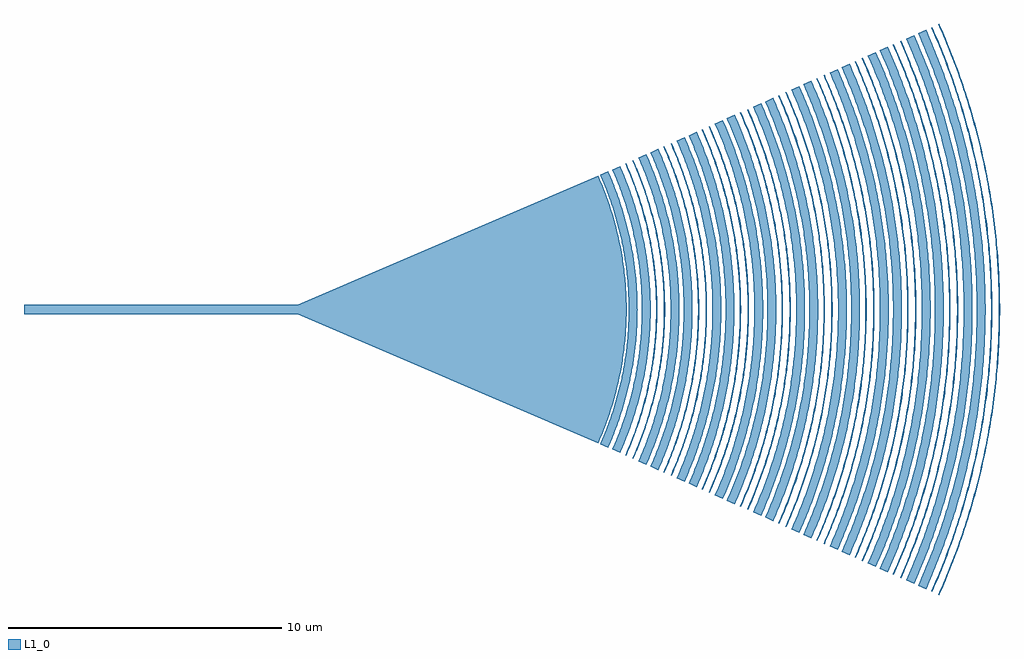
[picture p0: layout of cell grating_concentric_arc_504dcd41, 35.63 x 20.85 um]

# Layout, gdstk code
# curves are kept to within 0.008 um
import gdstk
lib = gdstk.Library(unit=1e-6, precision=2e-09)
def R(c, l, rs):  # rectangles x0, y0, x1, y1
    for r in rs: c.add(gdstk.rectangle(r[:2], r[2:], *l))
def P(c, l, *ps):  # polygons
    for p in ps: c.add(gdstk.Polygon(p, *l))
L1_0 = (1, 0)

straight_3aa2beef = lib.new_cell('straight_3aa2beef')
R(straight_3aa2beef, L1_0, [(0,-0.174,10,0.174)])

ring_18af332f_transform_ = lib.new_cell('ring_18af332f_transform_e815f10f')
P(ring_18af332f_transform_, L1_0, [(11.036,-4.914),(11.278,-4.328),(11.422,-3.932),(11.612,-3.33),(11.77,-2.718),(11.884,-2.166),(11.972,-1.612),(12.028,-1.122),(12.07,-0.492),(12.078,0.21),(12.046,0.912),(11.972,1.612),(11.858,2.304),(11.704,2.99),(11.532,3.598),(11.352,4.132),(11.036,4.914),(11.328,5.044),(11.602,4.376),(11.858,3.626),(12.014,3.07),(12.172,2.366),(12.298,1.582),(12.364,0.936),(12.398,0.216),(12.392,-0.432),(12.332,-1.296),(12.224,-2.082),(12.082,-2.79),(11.858,-3.626),(11.602,-4.376),(11.328,-5.044)])

ring_9ef71bd5_transform_ = lib.new_cell('ring_9ef71bd5_transform_de18588c')
P(ring_9ef71bd5_transform_, L1_0, [(11.472,-5.108),(11.672,-4.636),(11.922,-3.95),(12.092,-3.392),(12.236,-2.826),(12.368,-2.18),(12.456,-1.602),(12.528,-0.876),(12.554,-0.366),(12.554,0.366),(12.498,1.24),(12.416,1.892),(12.3,2.54),(12.15,3.18),(11.922,3.95),(11.672,4.636),(11.472,5.108),(11.764,5.238),(12.05,4.546),(12.294,3.836),(12.478,3.188),(12.642,2.458),(12.782,1.57),(12.842,0.974),(12.878,0.15),(12.868,-0.524),(12.816,-1.272),(12.696,-2.162),(12.514,-3.042),(12.316,-3.766),(12.05,-4.546),(11.764,-5.238)])

ring_62116101_transform_ = lib.new_cell('ring_62116101_transform_87c8f04f')
P(ring_62116101_transform_, L1_0, [(11.95,-5.32),(12.212,-4.688),(12.318,-4.402),(12.464,-3.97),(12.634,-3.386),(12.762,-2.868),(12.882,-2.272),(12.964,-1.746),(12.992,-1.518),(13.024,-1.216),(13.054,-0.836),(13.07,-0.532),(13.08,-0.152),(13.08,0.152),(13.07,0.532),(13.054,0.836),(13.024,1.216),(12.964,1.746),(12.92,2.046),(12.826,2.57),(12.728,3.016),(12.654,3.312),(12.574,3.606),(12.464,3.97),(12.318,4.402),(12.212,4.688),(11.95,5.32),(11.986,5.336),(12.108,5.056),(12.25,4.702),(12.356,4.416),(12.502,3.982),(12.592,3.69),(12.694,3.322),(12.802,2.878),(12.85,2.654),(12.96,2.052),(13.014,1.674),(13.064,1.22),(13.084,0.992),(13.11,0.534),(13.118,0.306),(13.12,-0.152),(13.116,-0.382),(13.094,-0.84),(13.078,-1.068),(13.032,-1.524),(12.982,-1.902),(12.922,-2.278),(12.802,-2.878),(12.694,-3.322),(12.592,-3.69),(12.502,-3.982),(12.356,-4.416),(12.166,-4.916),(12.018,-5.266),(11.986,-5.336)])

ring_b915d18b_transform_ = lib.new_cell('ring_b915d18b_transform_c44b0128')
P(ring_b915d18b_transform_, L1_0, [(12.21,-5.436),(12.334,-5.15),(12.506,-4.718),(12.688,-4.204),(12.87,-3.61),(12.988,-3.158),(13.058,-2.854),(13.12,-2.55),(13.202,-2.09),(13.276,-1.552),(13.334,-0.932),(13.358,-0.466),(13.366,-0.078),(13.364,0.234),(13.352,0.622),(13.308,1.242),(13.276,1.552),(13.202,2.09),(13.09,2.702),(13.024,3.006),(12.95,3.308),(12.87,3.61),(12.782,3.908),(12.638,4.352),(12.506,4.718),(12.334,5.15),(12.21,5.436),(12.248,5.452),(12.488,4.878),(12.598,4.586),(12.726,4.216),(12.866,3.77),(12.95,3.47),(13.114,2.788),(13.216,2.252),(13.254,2.02),(13.316,1.556),(13.356,1.168),(13.384,0.78),(13.398,0.468),(13.406,-0.156),(13.392,-0.624),(13.374,-0.936),(13.316,-1.556),(13.254,-2.02),(13.216,-2.252),(13.13,-2.71),(13.08,-2.94),(12.97,-3.394),(12.866,-3.77),(12.676,-4.364),(12.488,-4.878),(12.31,-5.31),(12.248,-5.452)])

ring_b7945bce_transform_ = lib.new_cell('ring_b7945bce_transform_cf021379')
P(ring_b7945bce_transform_, L1_0, [(12.432,-5.534),(12.676,-4.95),(12.918,-4.28),(13.082,-3.75),(13.26,-3.062),(13.374,-2.518),(13.476,-1.894),(13.564,-1.108),(13.6,-0.474),(13.608,0.158),(13.576,0.95),(13.526,1.502),(13.476,1.894),(13.374,2.518),(13.242,3.138),(13.014,3.978),(12.788,4.654),(12.618,5.098),(12.432,5.534),(12.724,5.664),(13.032,4.916),(13.296,4.15),(13.534,3.29),(13.688,2.578),(13.804,1.858),(13.882,1.134),(13.926,0.244),(13.92,-0.486),(13.86,-1.376),(13.744,-2.258),(13.57,-3.134),(13.366,-3.916),(13.116,-4.688),(12.914,-5.218),(12.724,-5.664)])

ring_1697d63b_transform_ = lib.new_cell('ring_1697d63b_transform_a5b82519')
P(ring_1697d63b_transform_, L1_0, [(12.87,-5.73),(13.152,-5.048),(13.372,-4.432),(13.542,-3.882),(13.708,-3.248),(13.844,-2.608),(13.962,-1.88),(14.034,-1.228),(14.082,-0.41),(14.082,0.41),(14.034,1.228),(13.962,1.88),(13.844,2.608),(13.708,3.248),(13.608,3.646),(13.448,4.196),(13.152,5.048),(12.87,5.73),(13.162,5.86),(13.48,5.084),(13.728,4.372),(13.938,3.648),(14.126,2.832),(14.278,1.922),(14.366,1.088),(14.406,0.168),(14.398,-0.502),(14.344,-1.34),(14.23,-2.254),(14.056,-3.16),(13.826,-4.052),(13.538,-4.928),(13.358,-5.396),(13.162,-5.86)])

ring_c85b5a61_transform_ = lib.new_cell('ring_c85b5a61_transform_00e0e5d4')
P(ring_c85b5a61_transform_, L1_0, [(13.346,-5.942),(13.608,-5.314),(13.728,-4.996),(13.868,-4.596),(14.066,-3.944),(14.196,-3.452),(14.254,-3.204),(14.402,-2.454),(14.49,-1.864),(14.52,-1.612),(14.574,-1.02),(14.6,-0.51),(14.608,-0.17),(14.6,0.51),(14.574,1.02),(14.554,1.274),(14.49,1.864),(14.442,2.202),(14.402,2.454),(14.324,2.87),(14.196,3.452),(14.066,3.944),(13.946,4.352),(13.868,4.596),(13.638,5.236),(13.448,5.708),(13.346,5.942),(13.382,5.958),(13.518,5.646),(13.646,5.33),(13.824,4.85),(13.906,4.608),(14.01,4.284),(14.128,3.874),(14.194,3.626),(14.33,3.046),(14.456,2.376),(14.53,1.87),(14.578,1.446),(14.63,0.766),(14.644,0.426),(14.65,0),(14.644,-0.426),(14.63,-0.766),(14.608,-1.106),(14.56,-1.616),(14.53,-1.87),(14.456,-2.376),(14.38,-2.796),(14.312,-3.13),(14.194,-3.626),(14.128,-3.874),(14.01,-4.284),(13.852,-4.77),(13.646,-5.33),(13.452,-5.802),(13.382,-5.958)])

ring_a4c3d1c4_transform_ = lib.new_cell('ring_a4c3d1c4_transform_65c90a22')
P(ring_a4c3d1c4_transform_, L1_0, [(13.606,-6.058),(13.744,-5.74),(13.874,-5.418),(14.026,-5.012),(14.166,-4.602),(14.318,-4.106),(14.452,-3.604),(14.532,-3.266),(14.668,-2.586),(14.75,-2.072),(14.784,-1.816),(14.838,-1.298),(14.864,-0.952),(14.886,-0.52),(14.894,-0.174),(14.886,0.52),(14.864,0.952),(14.822,1.47),(14.75,2.072),(14.668,2.586),(14.604,2.926),(14.532,3.266),(14.452,3.604),(14.318,4.106),(14.244,4.354),(14.11,4.768),(13.966,5.176),(13.81,5.58),(13.606,6.058),(13.644,6.074),(13.782,5.756),(13.912,5.434),(14.064,5.026),(14.204,4.616),(14.308,4.284),(14.404,3.95),(14.492,3.614),(14.644,2.934),(14.708,2.594),(14.79,2.078),(14.862,1.474),(14.91,0.868),(14.926,0.522),(14.934,-0.174),(14.91,-0.868),(14.886,-1.216),(14.824,-1.82),(14.79,-2.078),(14.708,-2.594),(14.572,-3.274),(14.492,-3.614),(14.404,-3.95),(14.308,-4.284),(14.122,-4.862),(13.912,-5.434),(13.714,-5.916),(13.644,-6.074)])

ring_f097ac08_transform_ = lib.new_cell('ring_f097ac08_transform_99536613')
P(ring_f097ac08_transform_, L1_0, [(13.828,-6.156),(14.132,-5.424),(14.396,-4.678),(14.622,-3.918),(14.788,-3.234),(14.892,-2.716),(15.002,-2.02),(15.08,-1.32),(15.128,-0.528),(15.136,0.176),(15.094,1.144),(15.002,2.02),(14.876,2.802),(14.688,3.662),(14.45,4.51),(14.194,5.26),(14.002,5.752),(13.828,6.156),(14.12,6.286),(14.43,5.54),(14.728,4.69),(14.998,3.74),(15.19,2.86),(15.306,2.152),(15.406,1.258),(15.45,0.45),(15.45,-0.45),(15.406,-1.258),(15.294,-2.24),(15.19,-2.86),(15.1,-3.302),(14.998,-3.74),(14.858,-4.26),(14.672,-4.862),(14.494,-5.37),(14.12,-6.286)])

ring_97541202_transform_ = lib.new_cell('ring_97541202_transform_76e0aaa6')
P(ring_97541202_transform_, L1_0, [(14.266,-6.352),(14.546,-5.68),(14.824,-4.912),(15.036,-4.216),(15.216,-3.512),(15.394,-2.622),(15.5,-1.904),(15.578,-1.09),(15.61,-0.454),(15.61,0.454),(15.564,1.27),(15.464,2.174),(15.312,3.068),(15.13,3.866),(14.88,4.74),(14.61,5.512),(14.266,6.352),(14.558,6.482),(14.91,5.624),(15.212,4.748),(15.462,3.856),(15.66,2.95),(15.78,2.218),(15.858,1.574),(15.89,1.204),(15.918,0.742),(15.934,0.186),(15.926,-0.556),(15.858,-1.574),(15.754,-2.402),(15.568,-3.404),(15.344,-4.304),(15.156,-4.924),(15.006,-5.362),(14.81,-5.884),(14.558,-6.482)])

ring_4b532dd6_transform_ = lib.new_cell('ring_4b532dd6_transform_9932546e')
P(ring_4b532dd6_transform_, L1_0, [(14.742,-6.564),(14.854,-6.306),(15.066,-5.784),(15.228,-5.342),(15.348,-4.986),(15.46,-4.628),(15.612,-4.086),(15.724,-3.63),(15.804,-3.264),(15.924,-2.618),(15.98,-2.246),(16.028,-1.874),(16.068,-1.5),(16.116,-0.844),(16.128,-0.564),(16.138,0),(16.128,0.564),(16.116,0.844),(16.068,1.5),(16.028,1.874),(15.98,2.246),(15.924,2.618),(15.804,3.264),(15.658,3.904),(15.588,4.176),(15.46,4.628),(15.318,5.076),(15.132,5.608),(14.998,5.958),(14.742,6.564),(14.78,6.58),(14.892,6.322),(15.104,5.798),(15.266,5.356),(15.444,4.82),(15.552,4.46),(15.698,3.914),(15.844,3.272),(15.916,2.902),(15.994,2.438),(16.09,1.692),(16.132,1.222),(16.156,0.846),(16.174,0.376),(16.178,-0.094),(16.174,-0.376),(16.156,-0.846),(16.132,-1.222),(16.08,-1.784),(16.034,-2.158),(15.964,-2.624),(15.844,-3.272),(15.764,-3.64),(15.698,-3.914),(15.552,-4.46),(15.444,-4.82),(15.266,-5.356),(15.07,-5.886),(14.818,-6.494),(14.78,-6.58)])

ring_369c5e2a_transform_ = lib.new_cell('ring_369c5e2a_transform_a3ad6ce9')
P(ring_369c5e2a_transform_, L1_0, [(15.002,-6.68),(15.118,-6.416),(15.298,-5.974),(15.4,-5.706),(15.59,-5.166),(15.706,-4.802),(15.864,-4.25),(16.024,-3.602),(16.102,-3.228),(16.206,-2.664),(16.25,-2.38),(16.312,-1.906),(16.352,-1.526),(16.39,-1.05),(16.41,-0.668),(16.422,-0.192),(16.422,0.192),(16.41,0.668),(16.39,1.05),(16.352,1.526),(16.312,1.906),(16.236,2.474),(16.174,2.852),(16.084,3.32),(16.024,3.602),(15.912,4.066),(15.706,4.802),(15.59,5.166),(15.4,5.706),(15.262,6.064),(15.118,6.416),(15.002,6.68),(15.04,6.696),(15.192,6.344),(15.336,5.99),(15.438,5.72),(15.658,5.088),(15.772,4.722),(15.878,4.354),(15.998,3.89),(16.124,3.33),(16.214,2.858),(16.276,2.48),(16.374,1.72),(16.436,0.958),(16.454,0.574),(16.464,0),(16.454,-0.574),(16.436,-0.958),(16.374,-1.72),(16.304,-2.292),(16.246,-2.67),(16.196,-2.954),(16.084,-3.516),(15.998,-3.89),(15.878,-4.354),(15.744,-4.814),(15.598,-5.27),(15.336,-5.99),(15.192,-6.344),(15.04,-6.696)])

ring_09ff72a5_transform_ = lib.new_cell('ring_09ff72a5_transform_56d70600')
P(ring_09ff72a5_transform_, L1_0, [(15.224,-6.778),(15.524,-6.062),(15.82,-5.242),(16.098,-4.314),(16.26,-3.654),(16.396,-2.99),(16.53,-2.128),(16.618,-1.26),(16.656,-0.582),(16.666,-0.096),(16.656,0.582),(16.618,1.26),(16.53,2.128),(16.36,3.18),(16.26,3.654),(16.098,4.314),(15.88,5.058),(15.726,5.518),(15.524,6.062),(15.224,6.778),(15.516,6.908),(15.892,5.994),(16.214,5.06),(16.432,4.3),(16.654,3.338),(16.806,2.462),(16.912,1.578),(16.956,0.988),(16.978,0.494),(16.978,-0.494),(16.956,-0.988),(16.912,-1.578),(16.806,-2.462),(16.71,-3.046),(16.614,-3.532),(16.504,-4.014),(16.354,-4.586),(16.214,-5.06),(16.028,-5.624),(15.822,-6.178),(15.516,-6.908)])

ring_4aba89fb_transform_ = lib.new_cell('ring_4aba89fb_transform_c85839d6')
P(ring_4aba89fb_transform_, L1_0, [(15.662,-6.974),(16.006,-6.144),(16.306,-5.298),(16.508,-4.63),(16.726,-3.76),(16.884,-2.978),(17.004,-2.188),(17.096,-1.296),(17.14,-0.398),(17.14,0.398),(17.088,1.394),(16.978,2.386),(16.83,3.272),(16.586,4.34),(16.366,5.108),(16.178,5.676),(16.006,6.144),(15.662,6.974),(15.954,7.104),(16.268,6.354),(16.64,5.3),(16.788,4.814),(16.92,4.324),(17.124,3.432),(17.28,2.532),(17.398,1.522),(17.454,0.61),(17.462,-0.304),(17.44,-0.914),(17.398,-1.522),(17.28,-2.532),(17.124,-3.432),(16.97,-4.126),(16.842,-4.618),(16.64,-5.3),(16.444,-5.878),(16.268,-6.354),(15.954,-7.104)])

ring_5a9b4f54_transform_ = lib.new_cell('ring_5a9b4f54_transform_206420ec')
P(ring_5a9b4f54_transform_, L1_0, [(16.138,-7.186),(16.302,-6.808),(16.456,-6.426),(16.636,-5.946),(16.802,-5.46),(16.982,-4.87),(17.064,-4.572),(17.142,-4.274),(17.258,-3.774),(17.342,-3.37),(17.432,-2.866),(17.522,-2.254),(17.57,-1.846),(17.608,-1.438),(17.642,-0.924),(17.662,-0.412),(17.666,-0.102),(17.664,0.308),(17.652,0.72),(17.63,1.13),(17.59,1.642),(17.522,2.254),(17.48,2.56),(17.398,3.068),(17.322,3.472),(17.214,3.974),(17.142,4.274),(16.982,4.87),(16.864,5.264),(16.636,5.946),(16.456,6.426),(16.302,6.808),(16.138,7.186),(16.176,7.202),(16.494,6.442),(16.674,5.96),(16.872,5.374),(16.992,4.98),(17.156,4.384),(17.23,4.084),(17.362,3.48),(17.438,3.074),(17.52,2.566),(17.562,2.26),(17.63,1.646),(17.664,1.236),(17.688,0.824),(17.706,0.206),(17.706,-0.206),(17.688,-0.824),(17.664,-1.236),(17.598,-1.954),(17.562,-2.26),(17.472,-2.872),(17.382,-3.378),(17.276,-3.882),(17.156,-4.384),(16.992,-4.98),(16.872,-5.374),(16.742,-5.764),(16.494,-6.442),(16.258,-7.014),(16.176,-7.202)])

ring_7d5eeade_transform_ = lib.new_cell('ring_7d5eeade_transform_6bc9a117')
P(ring_7d5eeade_transform_, L1_0, [(16.4,-7.302),(16.604,-6.822),(16.796,-6.336),(16.974,-5.844),(17.136,-5.348),(17.284,-4.848),(17.444,-4.242),(17.602,-3.528),(17.714,-2.912),(17.762,-2.602),(17.818,-2.188),(17.864,-1.772),(17.908,-1.252),(17.932,-0.836),(17.944,-0.522),(17.952,0),(17.944,0.522),(17.932,0.836),(17.908,1.252),(17.864,1.772),(17.818,2.188),(17.762,2.602),(17.714,2.912),(17.602,3.528),(17.444,4.242),(17.34,4.646),(17.198,5.148),(16.974,5.844),(16.796,6.336),(16.604,6.822),(16.4,7.302),(16.436,7.318),(16.562,7.03),(16.76,6.546),(16.978,5.956),(17.112,5.56),(17.266,5.06),(17.406,4.556),(17.554,3.946),(17.62,3.638),(17.754,2.918),(17.802,2.608),(17.894,1.88),(17.924,1.568),(17.968,0.942),(17.99,0.314),(17.992,-0.104),(17.968,-0.942),(17.924,-1.568),(17.894,-1.88),(17.802,-2.608),(17.754,-2.918),(17.662,-3.432),(17.554,-3.946),(17.458,-4.352),(17.324,-4.858),(17.144,-5.46),(17.012,-5.858),(16.76,-6.546),(16.562,-7.03),(16.436,-7.318)])

ring_27e1a8e9_transform_ = lib.new_cell('ring_27e1a8e9_transform_fa4fcae1')
P(ring_27e1a8e9_transform_, L1_0, [(16.62,-7.4),(16.83,-6.914),(17.024,-6.422),(17.304,-5.622),(17.518,-4.914),(17.752,-3.99),(17.918,-3.16),(18.046,-2.322),(18.15,-1.27),(18.19,-0.424),(18.19,0.424),(18.164,1.058),(18.116,1.692),(18.002,2.636),(17.84,3.576),(17.602,4.606),(17.336,5.522),(17.024,6.422),(16.83,6.914),(16.62,7.4),(16.912,7.53),(17.284,6.634),(17.608,5.72),(17.736,5.31),(17.938,4.584),(18.174,3.532),(18.334,2.576),(18.452,1.506),(18.506,0.538),(18.506,-0.538),(18.476,-1.184),(18.434,-1.72),(18.376,-2.256),(18.286,-2.896),(18.174,-3.532),(18.086,-3.954),(17.938,-4.584),(17.826,-5),(17.608,-5.72),(17.434,-6.23),(17.166,-6.936),(16.912,-7.53)])

ring_bc41de4a_transform_ = lib.new_cell('ring_bc41de4a_transform_f2fcce6a')
P(ring_bc41de4a_transform_, L1_0, [(17.058,-7.594),(17.394,-6.794),(17.724,-5.874),(17.98,-5.042),(18.242,-3.988),(18.39,-3.242),(18.534,-2.276),(18.628,-1.302),(18.668,-0.434),(18.668,0.434),(18.628,1.302),(18.534,2.276),(18.426,3.028),(18.33,3.562),(18.17,4.306),(17.92,5.252),(17.656,6.08),(17.51,6.488),(17.314,6.994),(17.058,7.594),(17.35,7.724),(17.526,7.32),(17.77,6.702),(17.958,6.184),(18.13,5.658),(18.402,4.702),(18.644,3.624),(18.808,2.644),(18.93,1.546),(18.988,0.442),(18.988,-0.442),(18.93,-1.546),(18.808,-2.644),(18.644,-3.624),(18.506,-4.272),(18.346,-4.916),(18.13,-5.658),(17.922,-6.288),(17.61,-7.114),(17.35,-7.724)])

ring_ef6cbba5_transform_ = lib.new_cell('ring_ef6cbba5_transform_8d22682c')
P(ring_ef6cbba5_transform_, L1_0, [(17.534,-7.808),(17.712,-7.396),(17.96,-6.774),(18.112,-6.354),(18.29,-5.826),(18.512,-5.076),(18.624,-4.644),(18.752,-4.1),(18.842,-3.662),(18.922,-3.224),(19.008,-2.672),(19.078,-2.118),(19.122,-1.672),(19.156,-1.228),(19.174,-0.894),(19.194,-0.224),(19.194,0.224),(19.174,0.894),(19.156,1.228),(19.112,1.784),(19.052,2.34),(18.976,2.892),(18.884,3.442),(18.798,3.882),(18.65,4.536),(18.512,5.076),(18.29,5.826),(18.112,6.354),(17.96,6.774),(17.712,7.396),(17.534,7.808),(17.572,7.824),(17.75,7.412),(17.958,6.894),(18.15,6.368),(18.294,5.944),(18.49,5.302),(18.58,4.978),(18.716,4.436),(18.838,3.89),(18.962,3.23),(19.016,2.898),(19.092,2.344),(19.152,1.788),(19.196,1.23),(19.224,0.672),(19.234,0.224),(19.234,-0.224),(19.224,-0.672),(19.196,-1.23),(19.152,-1.788),(19.092,-2.344),(19.016,-2.898),(18.962,-3.23),(18.838,-3.89),(18.742,-4.326),(18.664,-4.654),(18.49,-5.302),(18.362,-5.73),(18.224,-6.156),(17.958,-6.894),(17.75,-7.412),(17.572,-7.824)])

ring_073d23e4_transform_ = lib.new_cell('ring_073d23e4_transform_7c288cbc')
P(ring_073d23e4_transform_, L1_0, [(17.796,-7.924),(18.062,-7.298),(18.226,-6.876),(18.382,-6.45),(18.562,-5.912),(18.726,-5.37),(18.846,-4.932),(19.006,-4.272),(19.078,-3.94),(19.144,-3.606),(19.258,-2.936),(19.306,-2.598),(19.374,-2.036),(19.416,-1.584),(19.454,-1.02),(19.472,-0.566),(19.48,-0.114),(19.472,0.566),(19.454,1.02),(19.416,1.584),(19.374,2.036),(19.306,2.598),(19.258,2.936),(19.144,3.606),(19.078,3.94),(19.006,4.272),(18.846,4.932),(18.726,5.37),(18.596,5.804),(18.382,6.45),(18.226,6.876),(18.062,7.298),(17.796,7.924),(17.832,7.94),(18.056,7.418),(18.224,6.996),(18.42,6.462),(18.6,5.924),(18.668,5.708),(18.856,5.052),(18.968,4.612),(19.118,3.948),(19.184,3.614),(19.298,2.942),(19.402,2.154),(19.436,1.814),(19.488,1.136),(19.5,0.908),(19.52,0.228),(19.52,-0.228),(19.488,-1.136),(19.456,-1.588),(19.402,-2.154),(19.346,-2.604),(19.244,-3.278),(19.184,-3.614),(19.046,-4.28),(18.968,-4.612),(18.796,-5.272),(18.668,-5.708),(18.494,-6.248),(18.264,-6.89),(18.056,-7.418),(17.832,-7.94)])

ring_71f63d6c_transform_ = lib.new_cell('ring_71f63d6c_transform_96611c65')
P(ring_71f63d6c_transform_, L1_0, [(18.018,-8.022),(18.33,-7.282),(18.686,-6.312),(18.99,-5.326),(19.218,-4.436),(19.382,-3.65),(19.48,-3.086),(19.562,-2.518),(19.658,-1.604),(19.702,-0.918),(19.718,-0.458),(19.718,0.458),(19.682,1.262),(19.59,2.29),(19.462,3.198),(19.316,3.988),(19.218,4.436),(19.08,4.994),(18.894,5.656),(18.722,6.204),(18.534,6.746),(18.33,7.282),(18.018,8.022),(18.31,8.152),(18.752,7.074),(19.062,6.194),(19.36,5.188),(19.502,4.622),(19.652,3.938),(19.814,3.02),(19.92,2.21),(19.976,1.63),(20.034,0.582),(20.034,-0.582),(19.994,-1.398),(19.956,-1.862),(19.814,-3.02),(19.652,-3.938),(19.502,-4.622),(19.36,-5.188),(19.132,-5.972),(18.912,-6.636),(18.626,-7.4),(18.31,-8.152)])

ring_ab069dd8_transform_ = lib.new_cell('ring_ab069dd8_transform_02f1b799')
P(ring_ab069dd8_transform_, L1_0, [(18.454,-8.216),(18.818,-7.35),(19.176,-6.354),(19.482,-5.342),(19.71,-4.43),(19.874,-3.624),(20.036,-2.578),(20.144,-1.526),(20.196,-0.47),(20.202,0),(20.19,0.706),(20.144,1.526),(20.064,2.346),(19.934,3.276),(19.808,3.97),(19.71,4.43),(19.544,5.114),(19.386,5.682),(19.176,6.354),(18.984,6.91),(18.73,7.568),(18.454,8.216),(18.746,8.346),(19.158,7.354),(19.364,6.794),(19.554,6.228),(19.726,5.656),(19.912,4.964),(20.144,3.916),(20.322,2.856),(20.432,1.908),(20.504,0.836),(20.52,0.238),(20.516,-0.478),(20.462,-1.55),(20.396,-2.264),(20.322,-2.856),(20.144,-3.916),(20.022,-4.5),(19.822,-5.312),(19.554,-6.228),(19.364,-6.794),(19.026,-7.688),(18.746,-8.346)])

ring_57bc1377_transform_ = lib.new_cell('ring_57bc1377_transform_ff4c813a')
P(ring_57bc1377_transform_, L1_0, [(18.932,-8.428),(19.076,-8.098),(19.39,-7.314),(19.672,-6.518),(19.818,-6.058),(19.986,-5.48),(20.108,-5.014),(20.27,-4.308),(20.386,-3.718),(20.468,-3.242),(20.554,-2.646),(20.61,-2.166),(20.664,-1.566),(20.688,-1.204),(20.706,-0.844),(20.722,-0.242),(20.722,0.242),(20.706,0.844),(20.68,1.326),(20.634,1.926),(20.554,2.646),(20.522,2.884),(20.428,3.48),(20.342,3.954),(20.192,4.662),(20.108,5.014),(19.954,5.596),(19.818,6.058),(19.672,6.518),(19.39,7.314),(19.076,8.098),(18.932,8.428),(18.968,8.446),(19.16,8.002),(19.428,7.328),(19.512,7.102),(19.748,6.416),(19.892,5.956),(20.056,5.374),(20.176,4.906),(20.31,4.316),(20.404,3.844),(20.508,3.248),(20.594,2.65),(20.65,2.17),(20.704,1.568),(20.736,1.086),(20.758,0.484),(20.764,-0.12),(20.758,-0.484),(20.736,-1.086),(20.674,-1.93),(20.624,-2.41),(20.562,-2.89),(20.488,-3.368),(20.382,-3.962),(20.284,-4.436),(20.118,-5.14),(19.96,-5.724),(19.784,-6.302),(19.672,-6.646),(19.428,-7.328),(19.16,-8.002),(18.968,-8.446)])

ring_5b199af7_transform_ = lib.new_cell('ring_5b199af7_transform_31e397a7')
P(ring_5b199af7_transform_, L1_0, [(19.192,-8.544),(19.386,-8.096),(19.614,-7.528),(19.824,-6.956),(20.018,-6.376),(20.126,-6.026),(20.324,-5.32),(20.414,-4.964),(20.55,-4.368),(20.646,-3.888),(20.75,-3.286),(20.836,-2.682),(20.894,-2.196),(20.958,-1.466),(20.98,-1.1),(21,-0.612),(21.008,-0.122),(21.006,0.366),(20.986,0.978),(20.958,1.466),(20.894,2.196),(20.836,2.682),(20.75,3.286),(20.646,3.888),(20.55,4.368),(20.414,4.964),(20.324,5.32),(20.228,5.674),(20.018,6.376),(19.824,6.956),(19.614,7.528),(19.386,8.096),(19.192,8.544),(19.23,8.562),(19.516,7.886),(19.738,7.314),(19.942,6.736),(20.094,6.272),(20.234,5.802),(20.364,5.33),(20.51,4.734),(20.614,4.256),(20.73,3.656),(20.808,3.172),(20.892,2.566),(20.958,1.956),(20.998,1.468),(21.032,0.856),(21.048,0.244),(21.048,-0.244),(21.032,-0.856),(21.014,-1.224),(20.98,-1.712),(20.934,-2.2),(20.892,-2.566),(20.79,-3.292),(20.686,-3.896),(20.564,-4.496),(20.424,-5.092),(20.3,-5.566),(20.094,-6.272),(19.942,-6.736),(19.738,-7.314),(19.424,-8.112),(19.23,-8.562)])

ring_b386191c_transform_ = lib.new_cell('ring_b386191c_transform_2c3aeca4')
P(ring_b386191c_transform_, L1_0, [(19.414,-8.644),(19.84,-7.616),(20.134,-6.802),(20.462,-5.738),(20.734,-4.66),(20.95,-3.568),(21.108,-2.468),(21.2,-1.482),(21.246,-0.494),(21.246,0.494),(21.2,1.482),(21.108,2.468),(20.95,3.568),(20.812,4.298),(20.65,5.022),(20.462,5.738),(20.322,6.214),(20.134,6.802),(19.884,7.5),(19.658,8.076),(19.414,8.644),(19.706,8.774),(20.138,7.73),(20.354,7.142),(20.554,6.546),(20.868,5.462),(21.1,4.484),(21.198,3.992),(21.324,3.25),(21.466,2.13),(21.548,1.004),(21.57,0.25),(21.568,-0.376),(21.548,-1.004),(21.5,-1.754),(21.378,-2.878),(21.264,-3.622),(21.174,-4.116),(21.046,-4.73),(20.9,-5.34),(20.7,-6.066),(20.396,-7.022),(20.092,-7.848),(19.706,-8.774)])

ring_9ee7b167_transform_ = lib.new_cell('ring_9ee7b167_transform_ff106e1a')
P(ring_9ee7b167_transform_, L1_0, [(19.852,-8.838),(20.1,-8.258),(20.332,-7.67),(20.626,-6.836),(20.818,-6.232),(20.99,-5.624),(21.202,-4.764),(21.422,-3.648),(21.568,-2.648),(21.668,-1.642),(21.724,-0.506),(21.724,0.506),(21.668,1.642),(21.568,2.648),(21.422,3.648),(21.202,4.764),(21.054,5.38),(20.818,6.232),(20.546,7.074),(20.332,7.67),(20.1,8.258),(19.852,8.838),(20.144,8.968),(20.396,8.378),(20.676,7.662),(21.01,6.692),(21.196,6.078),(21.364,5.458),(21.62,4.334),(21.798,3.322),(21.886,2.688),(21.966,1.922),(22.032,0.898),(22.048,0.256),(22.044,-0.514),(21.996,-1.538),(21.942,-2.178),(21.87,-2.814),(21.758,-3.576),(21.62,-4.334),(21.364,-5.458),(21.124,-6.324),(20.806,-7.3),(20.492,-8.14),(20.144,-8.968)])

ring_de505fb6_transform_ = lib.new_cell('ring_de505fb6_transform_b59cd0f7')
P(ring_de505fb6_transform_, L1_0, [(20.328,-9.05),(20.632,-8.336),(20.774,-7.974),(20.954,-7.488),(21.122,-7),(21.28,-6.506),(21.494,-5.76),(21.622,-5.258),(21.766,-4.626),(21.868,-4.118),(21.978,-3.48),(22.07,-2.84),(22.13,-2.326),(22.178,-1.81),(22.222,-1.164),(22.246,-0.518),(22.252,-0.13),(22.246,0.518),(22.234,0.906),(22.198,1.552),(22.156,2.068),(22.102,2.584),(21.998,3.352),(21.914,3.864),(21.792,4.5),(21.682,5.006),(21.494,5.76),(21.39,6.134),(21.242,6.63),(21.04,7.244),(20.82,7.854),(20.632,8.336),(20.328,9.05),(20.364,9.066),(20.62,8.47),(20.858,7.868),(21.078,7.258),(21.28,6.642),(21.464,6.02),(21.566,5.644),(21.692,5.14),(21.832,4.508),(21.954,3.87),(22.038,3.36),(22.11,2.846),(22.184,2.202),(22.238,1.556),(22.268,1.038),(22.286,0.518),(22.292,-0.13),(22.286,-0.518),(22.262,-1.166),(22.208,-1.942),(22.142,-2.588),(22.076,-3.102),(21.976,-3.744),(21.858,-4.38),(21.778,-4.762),(21.63,-5.392),(21.464,-6.02),(21.28,-6.642),(21.12,-7.134),(20.858,-7.868),(20.62,-8.47),(20.364,-9.066)])

ring_c779d667_transform_ = lib.new_cell('ring_c779d667_transform_83b925ff')
P(ring_c779d667_transform_, L1_0, [(20.588,-9.166),(20.796,-8.686),(21.04,-8.076),(21.178,-7.708),(21.352,-7.214),(21.514,-6.714),(21.7,-6.086),(21.836,-5.58),(21.96,-5.07),(22.072,-4.558),(22.194,-3.914),(22.3,-3.266),(22.4,-2.486),(22.452,-1.964),(22.49,-1.442),(22.524,-0.786),(22.536,-0.262),(22.536,0.262),(22.524,0.786),(22.482,1.572),(22.44,2.094),(22.4,2.486),(22.3,3.266),(22.172,4.042),(22.072,4.558),(21.96,5.07),(21.836,5.58),(21.7,6.086),(21.514,6.714),(21.31,7.338),(21.04,8.076),(20.796,8.686),(20.588,9.166),(20.626,9.184),(20.884,8.58),(21.078,8.092),(21.216,7.722),(21.432,7.102),(21.63,6.476),(21.808,5.844),(21.938,5.334),(22.112,4.566),(22.212,4.05),(22.34,3.272),(22.41,2.752),(22.468,2.23),(22.532,1.444),(22.554,1.05),(22.572,0.526),(22.578,-0.132),(22.564,-0.788),(22.54,-1.312),(22.492,-1.968),(22.44,-2.49),(22.376,-3.012),(22.3,-3.532),(22.188,-4.178),(22.112,-4.566),(22.028,-4.95),(21.938,-5.334),(21.774,-5.97),(21.63,-6.476),(21.348,-7.35),(21.078,-8.092),(20.834,-8.7),(20.626,-9.184)])

ring_3da51064_transform_ = lib.new_cell('ring_3da51064_transform_8d36e59d')
P(ring_3da51064_transform_, L1_0, [(20.81,-9.266),(21.218,-8.288),(21.406,-7.792),(21.624,-7.166),(21.934,-6.152),(22.226,-4.996),(22.434,-3.956),(22.594,-2.908),(22.682,-2.118),(22.724,-1.59),(22.774,-0.53),(22.774,0.53),(22.734,1.456),(22.682,2.118),(22.626,2.644),(22.54,3.302),(22.456,3.826),(22.31,4.606),(22.166,5.254),(21.934,6.152),(21.746,6.786),(21.496,7.542),(21.314,8.04),(21.02,8.778),(20.81,9.266),(21.102,9.396),(21.418,8.654),(21.66,8.026),(22.01,7.01),(22.312,5.978),(22.446,5.458),(22.622,4.672),(22.772,3.878),(22.856,3.348),(23,2.148),(23.052,1.478),(23.086,0.806),(23.096,-0.404),(23.068,-1.208),(23.034,-1.746),(22.958,-2.548),(22.892,-3.082),(22.794,-3.746),(22.7,-4.276),(22.508,-5.196),(22.38,-5.718),(22.09,-6.754),(21.796,-7.648),(21.418,-8.654),(21.102,-9.396)])

ring_a6f27378_transform_ = lib.new_cell('ring_a6f27378_transform_3ef7a947')
P(ring_a6f27378_transform_, L1_0, [(21.248,-9.46),(21.714,-8.336),(22.078,-7.316),(22.282,-6.67),(22.466,-6.02),(22.722,-4.968),(22.906,-4.038),(23.086,-2.834),(23.202,-1.622),(23.252,-0.542),(23.252,0.542),(23.234,1.082),(23.182,1.892),(23.086,2.834),(22.906,4.038),(22.778,4.704),(22.632,5.364),(22.466,6.02),(22.282,6.67),(22.078,7.316),(21.81,8.082),(21.616,8.588),(21.248,9.46),(21.54,9.59),(21.81,8.96),(22.012,8.45),(22.294,7.676),(22.466,7.156),(22.81,5.97),(22.974,5.304),(23.118,4.634),(23.244,3.96),(23.368,3.146),(23.476,2.192),(23.53,1.508),(23.564,0.822),(23.578,0.138),(23.572,-0.548),(23.546,-1.234),(23.5,-1.918),(23.368,-3.146),(23.244,-3.96),(23.118,-4.634),(22.974,-5.304),(22.81,-5.97),(22.588,-6.762),(22.294,-7.676),(21.912,-8.706),(21.54,-9.59)])

ring_f96e1e99_transform_ = lib.new_cell('ring_f96e1e99_transform_a31e702e')
P(ring_f96e1e99_transform_, L1_0, [(21.724,-9.672),(21.944,-9.164),(22.15,-8.652),(22.346,-8.134),(22.574,-7.48),(22.782,-6.82),(22.934,-6.288),(23.074,-5.752),(23.232,-5.08),(23.344,-4.538),(23.466,-3.856),(23.568,-3.172),(23.62,-2.76),(23.678,-2.21),(23.732,-1.52),(23.766,-0.83),(23.78,-0.138),(23.766,0.83),(23.732,1.52),(23.678,2.21),(23.62,2.76),(23.568,3.172),(23.466,3.856),(23.344,4.538),(23.232,5.08),(23.074,5.752),(22.934,6.288),(22.782,6.82),(22.53,7.612),(22.298,8.264),(22.1,8.78),(21.944,9.164),(21.724,9.672),(21.762,9.688),(22.034,9.052),(22.288,8.408),(22.478,7.886),(22.698,7.23),(22.898,6.566),(23.08,5.898),(23.21,5.358),(23.3,4.952),(23.41,4.41),(23.506,3.864),(23.608,3.178),(23.676,2.628),(23.742,1.938),(23.788,1.246),(23.814,0.554),(23.82,-0.138),(23.806,-0.832),(23.78,-1.386),(23.742,-1.938),(23.676,-2.628),(23.608,-3.178),(23.506,-3.864),(23.41,-4.41),(23.3,-4.952),(23.114,-5.762),(22.936,-6.432),(22.698,-7.23),(22.568,-7.624),(22.288,-8.408),(22.034,-9.052),(21.762,-9.688)])

ring_7707097e_transform_ = lib.new_cell('ring_7707097e_transform_290b2a34')
P(ring_7707097e_transform_, L1_0, [(21.984,-9.788),(22.098,-9.532),(22.314,-9.016),(22.468,-8.624),(22.662,-8.1),(22.888,-7.436),(23.134,-6.634),(23.282,-6.094),(23.384,-5.686),(23.54,-5.004),(23.676,-4.316),(23.77,-3.764),(23.832,-3.35),(23.934,-2.516),(23.986,-1.958),(24.04,-1.12),(24.06,-0.56),(24.066,-0.14),(24.06,0.56),(24.04,1.12),(23.986,1.958),(23.934,2.516),(23.832,3.35),(23.77,3.764),(23.676,4.316),(23.54,5.004),(23.384,5.686),(23.282,6.094),(23.134,6.634),(22.93,7.304),(22.662,8.1),(22.468,8.624),(22.314,9.016),(22.098,9.532),(21.984,9.788),(22.022,9.804),(22.298,9.16),(22.554,8.508),(22.7,8.112),(22.97,7.316),(23.134,6.78),(23.284,6.24),(23.424,5.696),(23.58,5.012),(23.716,4.324),(23.81,3.772),(23.872,3.354),(23.974,2.52),(24.038,1.822),(24.074,1.262),(24.1,0.56),(24.106,-0.14),(24.092,-0.842),(24.066,-1.402),(24.038,-1.822),(24.002,-2.24),(23.944,-2.798),(23.852,-3.494),(23.764,-4.048),(23.664,-4.6),(23.55,-5.15),(23.424,-5.696),(23.248,-6.374),(23.094,-6.914),(22.97,-7.316),(22.838,-7.716),(22.604,-8.376),(22.298,-9.16),(22.022,-9.804)])

ring_49cbd40e_transform_ = lib.new_cell('ring_49cbd40e_transform_93e5accb')
P(ring_49cbd40e_transform_, L1_0, [(22.206,-9.888),(22.694,-8.712),(23.03,-7.78),(23.406,-6.564),(23.686,-5.468),(23.862,-4.638),(23.964,-4.082),(24.128,-2.962),(24.228,-1.978),(24.268,-1.414),(24.302,-0.566),(24.308,0.142),(24.294,0.848),(24.228,1.978),(24.128,2.962),(23.964,4.082),(23.862,4.638),(23.686,5.468),(23.48,6.292),(23.288,6.972),(23.03,7.78),(22.794,8.446),(22.538,9.106),(22.206,9.888),(22.498,10.016),(22.834,9.226),(23.094,8.558),(23.51,7.338),(23.862,6.096),(24.148,4.84),(24.254,4.276),(24.368,3.57),(24.462,2.86),(24.522,2.29),(24.578,1.574),(24.618,0.716),(24.628,0.144),(24.622,-0.574),(24.602,-1.146),(24.558,-1.86),(24.508,-2.432),(24.408,-3.286),(24.302,-3.994),(24.176,-4.7),(24.06,-5.26),(23.826,-6.236),(23.594,-7.064),(23.286,-8.018),(22.94,-8.96),(22.556,-9.886),(22.498,-10.016)])

ring_09573c7e_transform_ = lib.new_cell('ring_09573c7e_transform_91d00a53')
P(ring_09573c7e_transform_, L1_0, [(22.644,-10.082),(23.036,-9.152),(23.484,-7.934),(23.704,-7.248),(23.866,-6.694),(24.016,-6.136),(24.184,-5.436),(24.304,-4.872),(24.436,-4.162),(24.526,-3.592),(24.62,-2.878),(24.68,-2.304),(24.746,-1.442),(24.784,-0.432),(24.786,0.288),(24.772,0.866),(24.716,1.872),(24.62,2.878),(24.526,3.592),(24.436,4.162),(24.304,4.872),(24.152,5.576),(23.98,6.276),(23.746,7.11),(23.484,7.934),(23.242,8.614),(22.982,9.286),(22.644,10.082),(22.936,10.212),(23.168,9.676),(23.438,8.998),(23.642,8.45),(23.922,7.62),(24.252,6.498),(24.464,5.648),(24.646,4.79),(24.798,3.928),(24.882,3.35),(24.954,2.77),(25.024,2.042),(25.092,0.876),(25.106,0.146),(25.1,-0.584),(25.08,-1.168),(25.024,-2.042),(24.954,-2.77),(24.842,-3.638),(24.726,-4.36),(24.588,-5.076),(24.464,-5.648),(24.252,-6.498),(24.01,-7.34),(23.642,-8.45),(23.278,-9.406),(22.936,-10.212)])

ring_1394d4df_transform_ = lib.new_cell('ring_1394d4df_transform_69d95717')
P(ring_1394d4df_transform_, L1_0, [(23.12,-10.294),(23.354,-9.754),(23.628,-9.07),(23.882,-8.378),(24.116,-7.68),(24.288,-7.118),(24.484,-6.408),(24.66,-5.694),(24.756,-5.262),(24.872,-4.684),(24.998,-3.96),(25.102,-3.23),(25.17,-2.646),(25.224,-2.06),(25.266,-1.472),(25.294,-0.884),(25.308,-0.148),(25.302,0.588),(25.282,1.178),(25.236,1.912),(25.2,2.352),(25.138,2.938),(25.042,3.668),(24.95,4.25),(24.816,4.974),(24.66,5.694),(24.484,6.408),(24.288,7.118),(24.16,7.54),(23.93,8.24),(23.628,9.07),(23.354,9.754),(23.12,10.294),(23.158,10.31),(23.392,9.768),(23.666,9.084),(23.92,8.392),(24.108,7.834),(24.242,7.412),(24.368,6.988),(24.486,6.56),(24.632,5.99),(24.796,5.27),(24.912,4.692),(25.038,3.966),(25.142,3.236),(25.226,2.502),(25.288,1.768),(25.322,1.18),(25.346,0.442),(25.35,0),(25.346,-0.442),(25.322,-1.18),(25.288,-1.768),(25.226,-2.502),(25.142,-3.236),(25.038,-3.966),(24.912,-4.692),(24.796,-5.27),(24.632,-5.99),(24.408,-6.846),(24.242,-7.412),(24.016,-8.114),(23.77,-8.808),(23.504,-9.496),(23.158,-10.31)])

ring_3d341ffd_transform_ = lib.new_cell('ring_3d341ffd_transform_444505e4')
P(ring_3d341ffd_transform_, L1_0, [(23.382,-10.41),(23.618,-9.864),(23.948,-9.032),(24.102,-8.614),(24.342,-7.91),(24.562,-7.198),(24.684,-6.768),(24.87,-6.048),(25.004,-5.466),(25.152,-4.738),(25.256,-4.15),(25.346,-3.562),(25.422,-2.972),(25.484,-2.378),(25.542,-1.636),(25.56,-1.34),(25.584,-0.744),(25.594,-0.148),(25.588,0.596),(25.56,1.34),(25.51,2.082),(25.47,2.528),(25.404,3.12),(25.28,4.004),(25.206,4.444),(25.066,5.176),(24.972,5.612),(24.798,6.336),(24.644,6.912),(24.388,7.768),(24.102,8.614),(23.948,9.032),(23.618,9.864),(23.382,10.41),(23.418,10.426),(23.712,9.742),(23.986,9.048),(24.19,8.486),(24.426,7.78),(24.642,7.066),(24.8,6.49),(24.944,5.912),(25.106,5.184),(25.246,4.452),(25.32,4.01),(25.406,3.42),(25.51,2.532),(25.562,1.936),(25.614,1.044),(25.628,0.596),(25.634,-0.15),(25.62,-0.894),(25.592,-1.49),(25.538,-2.234),(25.462,-2.976),(25.386,-3.568),(25.296,-4.158),(25.164,-4.892),(25.044,-5.476),(24.874,-6.202),(24.762,-6.634),(24.558,-7.352),(24.334,-8.064),(24.038,-8.908),(23.712,-9.742),(23.418,-10.426)])

grating_concentric_arc_5 = lib.new_cell('grating_concentric_arc_504dcd41')
P(grating_concentric_arc_5, L1_0, [(0,0.174),(0,-0.174),(10.962,-4.882),(11.006,-4.786),(11.24,-4.202),(11.476,-3.508),(11.644,-2.902),(11.78,-2.29),(11.868,-1.774),(11.954,-1.046),(11.99,-0.524),(12,0.104),(11.99,0.524),(11.934,1.254),(11.836,1.98),(11.738,2.496),(11.564,3.206),(11.38,3.808),(11.126,4.496),(10.962,4.882)])
grating_concentric_arc_5.add(gdstk.Reference(straight_3aa2beef, (-10,0)))
grating_concentric_arc_5.add(gdstk.Reference(ring_18af332f_transform_, (0,0)))
grating_concentric_arc_5.add(gdstk.Reference(ring_9ef71bd5_transform_, (0,0)))
grating_concentric_arc_5.add(gdstk.Reference(ring_62116101_transform_, (0,0)))
grating_concentric_arc_5.add(gdstk.Reference(ring_b915d18b_transform_, (0,0)))
grating_concentric_arc_5.add(gdstk.Reference(ring_b7945bce_transform_, (0,0)))
grating_concentric_arc_5.add(gdstk.Reference(ring_1697d63b_transform_, (0,0)))
grating_concentric_arc_5.add(gdstk.Reference(ring_c85b5a61_transform_, (0,0)))
grating_concentric_arc_5.add(gdstk.Reference(ring_a4c3d1c4_transform_, (0,0)))
grating_concentric_arc_5.add(gdstk.Reference(ring_f097ac08_transform_, (0,0)))
grating_concentric_arc_5.add(gdstk.Reference(ring_97541202_transform_, (0,0)))
grating_concentric_arc_5.add(gdstk.Reference(ring_4b532dd6_transform_, (0,0)))
grating_concentric_arc_5.add(gdstk.Reference(ring_369c5e2a_transform_, (0,0)))
grating_concentric_arc_5.add(gdstk.Reference(ring_09ff72a5_transform_, (0,0)))
grating_concentric_arc_5.add(gdstk.Reference(ring_4aba89fb_transform_, (0,0)))
grating_concentric_arc_5.add(gdstk.Reference(ring_5a9b4f54_transform_, (0,0)))
grating_concentric_arc_5.add(gdstk.Reference(ring_7d5eeade_transform_, (0,0)))
grating_concentric_arc_5.add(gdstk.Reference(ring_27e1a8e9_transform_, (0,0)))
grating_concentric_arc_5.add(gdstk.Reference(ring_bc41de4a_transform_, (0,0)))
grating_concentric_arc_5.add(gdstk.Reference(ring_ef6cbba5_transform_, (0,0)))
grating_concentric_arc_5.add(gdstk.Reference(ring_073d23e4_transform_, (0,0)))
grating_concentric_arc_5.add(gdstk.Reference(ring_71f63d6c_transform_, (0,0)))
grating_concentric_arc_5.add(gdstk.Reference(ring_ab069dd8_transform_, (0,0)))
grating_concentric_arc_5.add(gdstk.Reference(ring_57bc1377_transform_, (0,0)))
grating_concentric_arc_5.add(gdstk.Reference(ring_5b199af7_transform_, (0,0)))
grating_concentric_arc_5.add(gdstk.Reference(ring_b386191c_transform_, (0,0)))
grating_concentric_arc_5.add(gdstk.Reference(ring_9ee7b167_transform_, (0,0)))
grating_concentric_arc_5.add(gdstk.Reference(ring_de505fb6_transform_, (0,0)))
grating_concentric_arc_5.add(gdstk.Reference(ring_c779d667_transform_, (0,0)))
grating_concentric_arc_5.add(gdstk.Reference(ring_3da51064_transform_, (0,0)))
grating_concentric_arc_5.add(gdstk.Reference(ring_a6f27378_transform_, (0,0)))
grating_concentric_arc_5.add(gdstk.Reference(ring_f96e1e99_transform_, (0,0)))
grating_concentric_arc_5.add(gdstk.Reference(ring_7707097e_transform_, (0,0)))
grating_concentric_arc_5.add(gdstk.Reference(ring_49cbd40e_transform_, (0,0)))
grating_concentric_arc_5.add(gdstk.Reference(ring_09573c7e_transform_, (0,0)))
grating_concentric_arc_5.add(gdstk.Reference(ring_1394d4df_transform_, (0,0)))
grating_concentric_arc_5.add(gdstk.Reference(ring_3d341ffd_transform_, (0,0)))

lib.write_gds('grating_concentric_arc_504dcd41.gds')
